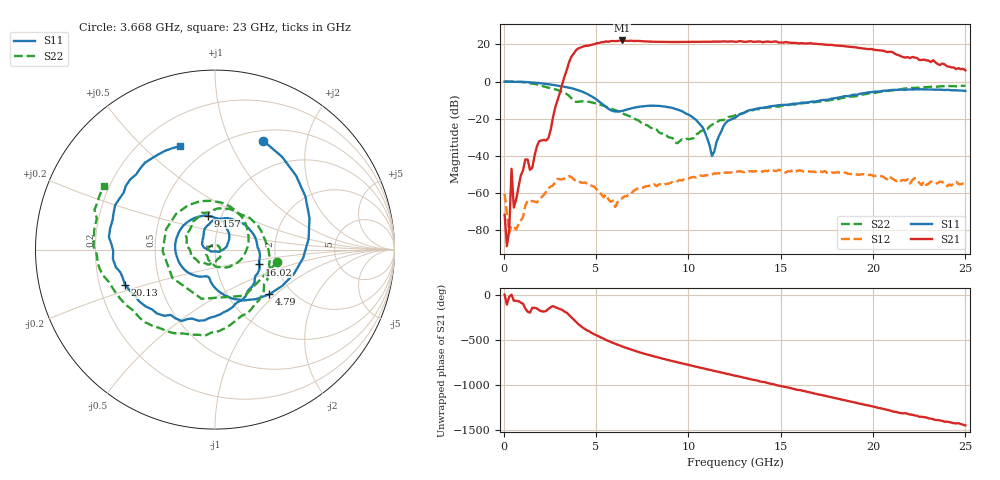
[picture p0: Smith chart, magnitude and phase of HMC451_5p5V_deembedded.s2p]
!Hittite Microwave Corporation
!20 Alpha Road
!Chelmsford, MA 01824
!Tel: 978-250-3343
!Fax: 978-250-3373
!Device: HMC451, 5-20 GHz, Driver Amplifier Die
!Misc: Vcc = 5.5V, data includes two K connectors, Room
# MHZ S MA R 50
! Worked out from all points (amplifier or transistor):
!   201 points, 50 MHz to 25 GHz, reference 50 ohm
!   highest |S21| = 22.1 dB at 6.412 GHz (marker M1)
!   |S21| within 3 dB of that: 4.382 GHz to 18.4 GHz (14.02 GHz wide, 123 % of centre)
!   unconditionally stable (mu >= 1): start of sweep to end of sweep
!   at 4.167 GHz: K = 20.07, MAG = 20.3 dB, |S12| = -54.3 dB
!   at 12.53 GHz: K = 10.97, MAG = 21.5 dB, |S12| = -48.4 dB
!   at 25 GHz: K = 41.70, MAG = 11.5 dB, |S12| = -55.3 dB
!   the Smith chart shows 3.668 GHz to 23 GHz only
!   S11 on the Smith chart (normalised r, x): 3.668 GHz: 0.62, +1.34; 4.79 GHz: 1.54, -0.91; 9.157 GHz: 0.86, +0.34; 16.02 GHz: 1.63, -0.29; 20.13 GHz: 0.31, -0.17; 23 GHz: 0.36, +0.66
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50  0.997 -3.6  0.0002606 7.4  0.0009547 8.9  0.994 -3.9
3168.75  0.743 112.1  0.846 -162.6  0.002345 96.6  0.537 98.1
3667.75  0.664 66.2  4.674 114.0  0.002701 56.2  0.354 -11.0
3917.25  0.611 42.2  6.99 64.6  0.002066 31.6  0.284 -105.1
4291.5  0.525 6.5  8.704 -1.1  0.001883 19.2  0.295 157.3
4790.5  0.392 -39.4  9.864 -61.4  0.001564 5.8  0.273 94.1
5414.25  0.232 -85.4  11.52 -122.5  0.0007724 -4.3  0.224 40.7
5913.25  0.161 -101.5  12.33 -168.3  0.000627 14.8  0.181 3.8
6412.25  0.162 -112.5  12.76 151.7  0.0007245 51.9  0.145 -30.3
7285.5  0.208 -153.2  12.39 91.6  0.001365 42.7  0.091 -90.8
8408.25  0.222 143.8  11.68 26.9  0.00172 27.3  0.043 -165.6
9156.75  0.194 101.8  11.58 -11.5  0.002019 22.2  0.03 125.5
10778.5  0.058 8.4  11.76 -90.1  0.002875 3.7  0.049 -52.4
12525  0.105 126.8  11.77 -172.8  0.003784 -28.8  0.123 -157.3
14396.25  0.214 42.2  11.81 100.7  0.004109 -67.7  0.201 119.6
16018  0.261 -18.5  10.62 28.6  0.004087 -95.8  0.25 49.1
16766.5  0.292 -45.2  10.38 -7.6  0.003787 -108.1  0.278 21.2
18388.25  0.398 -98.3  9.058 -81.4  0.003525 -141.1  0.363 -43.9
20134.75  0.538 -158.6  7.058 -161.8  0.002915 -174.4  0.5 -110.8
20883.25  0.577 177.2  6.337 162.7  0.00284 167.2  0.566 -137.8
23004  0.608 108.5  3.648 74.3  0.001774 144.2  0.711 150.0
25000  0.558 49.2  2.006 -4.6  0.001717 113.9  0.761 88.1
